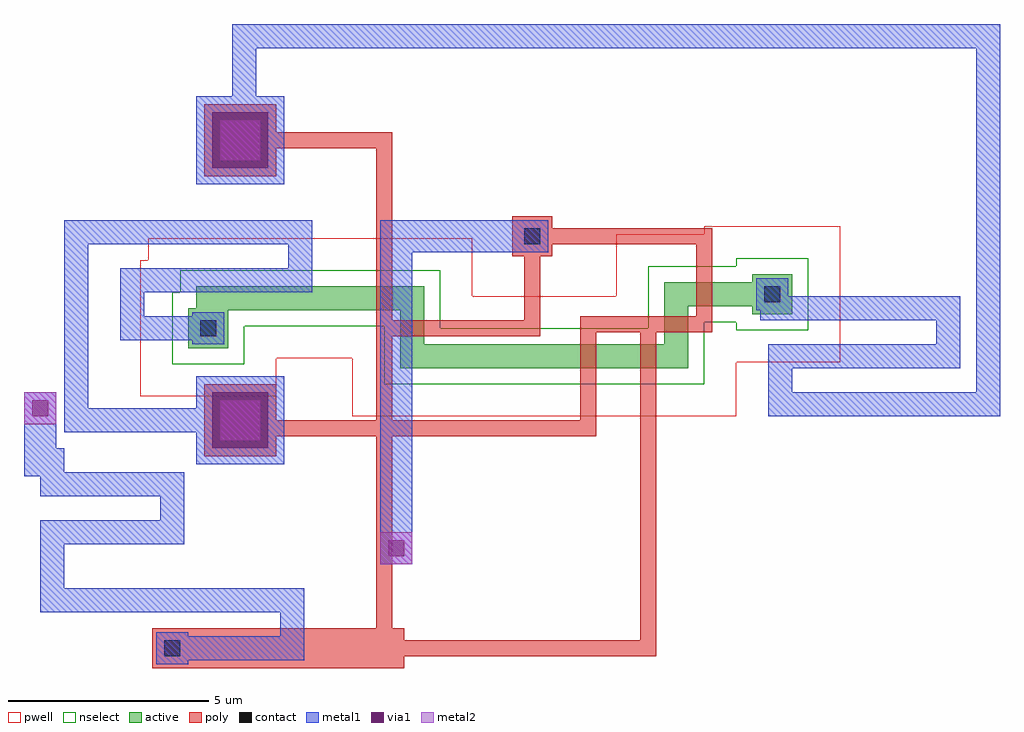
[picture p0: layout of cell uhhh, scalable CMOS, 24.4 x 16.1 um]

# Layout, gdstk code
import gdstk
lib = gdstk.Library(unit=1e-6, precision=1e-09)
def R(c, l, rs):  # rectangles x0, y0, x1, y1
    for r in rs: c.add(gdstk.rectangle(r[:2], r[2:], *l))
def A(c, l, x, y, w, h, nx, ny, dx, dy):  # array of equal rectangles
    R(c, l, [(x+i*dx, y+j*dy, x+i*dx+w, y+j*dy+h) for i in range(nx) for j in range(ny)])
contact = (25, 0)
pwell = (41, 0)
active = (43, 0)
nselect = (45, 0)
poly = (46, 0)
metal1 = (49, 0)
via1 = (50, 0)
metal2 = (51, 0)

uhhh = lib.new_cell('uhhh')
R(uhhh, contact, [(-8.2,-8.5,-7.8,-8.1), (-7.3,-0.5,-6.9,-0.1), (6.8,0.35,7.2,0.75), (0.8,1.8,1.2,2.2)])
R(uhhh, pwell, [(-3.5,-2.5,6.1,0.5), (3.1,-2.5,6.1,0.55), (-3.5,-2.3,-0.5,1.7), (3.1,-2.2,6.1,1.8), (-8.8,-2,-5.4,1.4), (-8.6,-1.8,-5.6,1.95), (5.3,-1.15,8.7,2.25), (-8.6,-1.05,-0.5,1.95), (3.1,-0.95,8.5,2.05)])
R(uhhh, active, [(-2.3,-1.3,4.9,-0.7), (4.3,-1.3,4.9,-0.65), (-2.3,-1.1,-1.7,0.5), (4.3,-1,4.9,0.6), (-7.6,-0.8,-6.6,0.2), (-7.4,-0.6,-6.8,0.75), (6.5,0.05,7.5,1.05), (-7.4,0.15,-1.7,0.75), (4.3,0.25,7.3,0.85)])
R(uhhh, nselect, [(-2.7,-1.7,5.3,-0.3), (3.9,-1.7,5.3,-0.25), (-2.7,-1.5,-1.3,0.9), (3.9,-1.4,5.3,1), (-8,-1.2,-6.2,0.6), (-7.8,-1,-6.4,1.15), (6.1,-0.35,7.9,1.45), (-7.8,-0.25,-1.3,1.15), (3.9,-0.15,7.7,1.25)])
R(uhhh, poly, [(-8.5,-8.8,-7.5,-7.8), (-8.5,-8.8,-2.2,-7.8), (-8.2,-8.5,4.1,-8.1), (-2.9,-8.5,-2.5,-0.1), (3.7,-8.5,4.1,0), (-7.2,-3.5,-5.4,-1.7), (-5.8,-3,2.6,-2.6), (2.2,-3,2.6,0), (-2.9,-0.5,-2.5,4.6), (-2.7,-0.5,-1.3,-0.1), (-1.5,-0.5,1.2,-0.1), (0.8,-0.5,1.2,2.2), (2.2,-0.4,4.1,0), (3.9,-0.4,5.3,0), (5.1,-0.4,5.5,2.2), (0.5,1.5,1.5,2.5), (0.8,1.8,5.5,2.2), (-7.2,3.5,-5.4,5.3), (-5.6,4.2,-2.5,4.6)])
A(uhhh, metal1, -8.3, -8.6, 1.2, 0.6, 5, 2, 0.6, 1.2)
A(uhhh, metal1, -11.3, -5.7, 1.2, 0.6, 5, 2, 0.6, 1.2)
A(uhhh, metal1, 6.9, -2.5, 1.2, 0.6, 3, 1, 0.6, 0)
A(uhhh, metal1, 6.9, -1.3, 1.2, 0.6, 7, 1, 0.6, 0)
A(uhhh, metal1, -9.3, -0.6, 1.2, 0.6, 3, 1, 0.6, 0)
A(uhhh, metal1, 8.1, -0.1, 1.2, 0.6, 5, 1, 0.6, 0)
A(uhhh, metal1, -9.3, 0.6, 1.2, 0.6, 7, 1, 0.6, 0)
A(uhhh, metal1, -10.7, 1.8, 1.2, 0.6, 3, 1, 0.6, 0)
A(uhhh, metal1, -8.1, 1.8, 1.2, 0.6, 5, 1, 0.6, 0)
R(uhhh, metal1, [(-8.4,-8.7,-7.6,-7.9), (-5.3,-8.6,-4.7,-7.4), (-5.3,-8,-4.7,-6.8), (-11.3,-7.4,-10.7,-5.1), (-11.3,-7.4,-7.7,-6.8), (-2.8,-6.2,-2,-5.4), (-2.8,-6.2,-2,2.4), (-8.3,-5.7,-7.7,-4.5), (-8.3,-5.1,-7.7,-3.9), (-11.3,-4.5,-10.7,-3.3), (-11.7,-4,-10.9,-1.9), (-11.6,-3.9,-10.7,-3.3), (-7.4,-3.7,-5.2,-1.5), (-10.7,-2.9,-10.1,2.4), (-10.7,-2.9,-6.6,-2.3), (-11.7,-2.7,-10.9,-1.9), (6.9,-2.5,7.5,-1.3), (8.7,-2.5,12.7,-1.9), (12.1,-2.5,12.7,7.3), (6.9,-1.9,7.5,-0.7), (11.1,-1.3,11.7,-0.1), (-7.5,-0.7,-6.7,0.1), (11.1,-0.7,11.7,0.5), (-9.3,-0.6,-8.7,0.6), (-7.5,-0.6,-6.8,0), (6.7,-0.1,7.9,0.5), (6.7,-0.1,7.3,0.85), (7.3,-0.1,8.7,0.5), (-9.3,0,-8.7,1.2), (6.6,0.15,7.4,0.95), (-5.1,0.6,-4.5,1.8), (-5.1,1.2,-4.5,2.4), (-2.8,1.6,1.4,2.4), (0.6,1.6,1.4,2.4), (-8.9,1.8,-7.5,2.4), (-7.4,3.3,-5.2,5.5), (-6.5,4.8,-5.9,7.3), (-6.5,6.7,12.7,7.3)])
R(uhhh, via1, [(-2.6,-6,-2.2,-5.6), (-7,-3.3,-5.6,-1.9), (-11.5,-2.5,-11.1,-2.1), (-7,3.7,-5.6,5.1)])
R(uhhh, metal2, [(-2.8,-6.2,-2,-5.4), (-6.8,-3.1,-5.8,-2.1), (-11.7,-2.7,-10.9,-1.9), (-6.8,3.9,-5.8,4.9)])

lib.write_gds('uhhh.gds')
